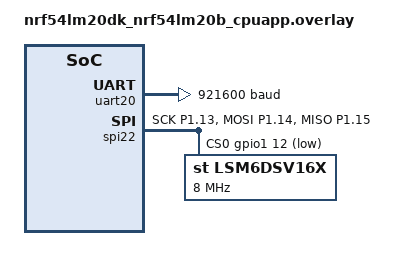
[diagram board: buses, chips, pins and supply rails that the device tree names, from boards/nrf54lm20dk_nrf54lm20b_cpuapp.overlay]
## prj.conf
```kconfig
# Enable the serial console for printf
CONFIG_SERIAL=y
CONFIG_CONSOLE=y
CONFIG_UART_CONSOLE=y
CONFIG_CBPRINTF_FP_SUPPORT=y

# Enable the SPI bus
CONFIG_SPI=y

# Enable the sensor subsystem and the LSM6DSV16X driver
CONFIG_SENSOR=y
CONFIG_LSM6DSV16X=y
# Specify that we are communicating over SPI, not I2C
CONFIG_LSM6DSV16X_TRIGGER_NONE=y

CONFIG_LOG=y
# CONFIG_SPI_LOG_LEVEL_DBG=y
# CONFIG_SENSOR_LOG_LEVEL_DBG=y
# CONFIG_UART_USE_RUNTIME_CONFIGURE=y
```

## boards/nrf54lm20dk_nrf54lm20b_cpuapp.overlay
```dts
&pinctrl {
	spi22_default: spi22_default {
		group1 {
			psels = <NRF_PSEL(SPIM_SCK, 1, 13)>,
				<NRF_PSEL(SPIM_MOSI, 1, 14)>,
				<NRF_PSEL(SPIM_MISO, 1, 15)>;
		};
	};

	/* Define the sleep state so the devicetree compiler is happy */
	spi22_sleep: spi22_sleep {
		group1 {
			psels = <NRF_PSEL(SPIM_SCK, 1, 13)>,
				<NRF_PSEL(SPIM_MOSI, 1, 14)>,
				<NRF_PSEL(SPIM_MISO, 1, 15)>;
			low-power-enable; /* Standard Nordic sleep config */
		};
	};
};

&uart20 {
	current-speed = <921600>;
};

&spi22 {
	status = "okay";

	/* Map the active and sleep states */
	pinctrl-0 = <&spi22_default>;
	pinctrl-1 = <&spi22_sleep>;
	pinctrl-names = "default", "sleep";

	cs-gpios = <&gpio1 12 GPIO_ACTIVE_LOW>;

	lsm6dsv16x: lsm6dsv16x@0 {
		compatible = "st,lsm6dsv16x";
		reg = <0>;
		spi-max-frequency = <8000000>;
	};
};
```

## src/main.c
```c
#include <zephyr/kernel.h>
#include <zephyr/device.h>
#include <zephyr/drivers/sensor.h>
#include <stdio.h>

void main(void)
{
	/* Find the sensor automatically based on the compatible string in the overlay */
	const struct device *const dev = DEVICE_DT_GET_ANY(st_lsm6dsv16x);

	if (dev == NULL) {
		printf("Error: No LSM6DSV16X device found in devicetree\n");
		return;
	}
	if (!device_is_ready(dev)) {
		printf("Error: Device %s is not ready\n", dev->name);
		return;
	}

	printf("Found device: %s\n", dev->name);

	/* Set sampling frequency to a low rate: 15 Hz */
	struct sensor_value odr_attr = {.val1 = 7680, .val2 = 0};

	if (sensor_attr_set(dev, SENSOR_CHAN_ACCEL_XYZ, SENSOR_ATTR_SAMPLING_FREQUENCY, &odr_attr) <
	    0) {
		printf("Warning: Cannot configure accelerometer ODR\n");
	}

	if (sensor_attr_set(dev, SENSOR_CHAN_GYRO_XYZ, SENSOR_ATTR_SAMPLING_FREQUENCY, &odr_attr) <
	    0) {
		printf("Warning: Cannot configure gyroscope ODR\n");
	}

	struct sensor_value accel[3];
	struct sensor_value gyro[3];

	/* Give the serial connection a brief moment to settle, then send the configuration header
	 */
	k_sleep(K_MSEC(500));
	printf("header X:'#e74c3c' Y:'#3498db' Z:'#2ecc71' Xg:'#f39c12' Yg:'#9b59b6' "
	       "Zg:'#1abc9c'\n");

	while (1) {
		/* Tell the driver to read the latest data from the sensor over SPI */
		if (sensor_sample_fetch(dev) < 0) {
			printf("Error: Failed to fetch sensor sample\n");
			return;
		}

		/* Extract the fetched data into our arrays */
		sensor_channel_get(dev, SENSOR_CHAN_ACCEL_XYZ, accel);
		sensor_channel_get(dev, SENSOR_CHAN_GYRO_XYZ, gyro);

		/* Print out named data points recognized automatically by Muino Serial Plotter */
		printf("X:%f Y:%f Z:%f Xg:%f Yg:%f Zg:%f\n", sensor_value_to_double(&accel[0]),
		       sensor_value_to_double(&accel[1]), sensor_value_to_double(&accel[2]),
		       sensor_value_to_double(&gyro[0]), sensor_value_to_double(&gyro[1]),
		       sensor_value_to_double(&gyro[2]));
	}
}
```
